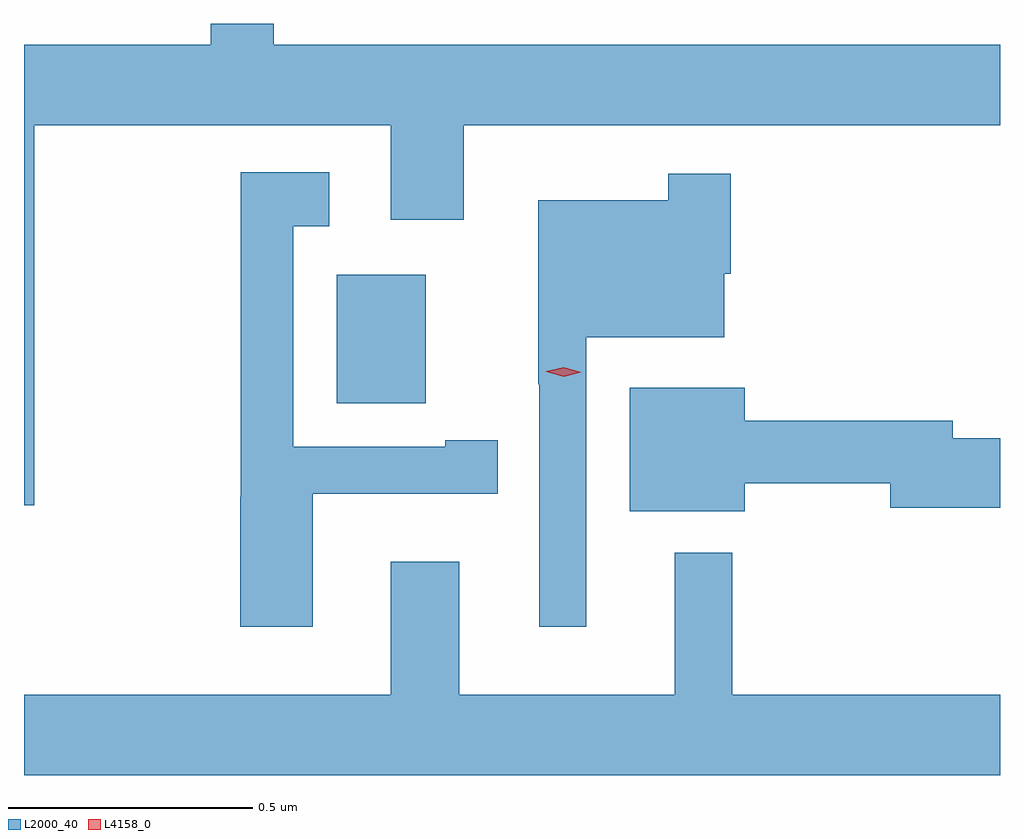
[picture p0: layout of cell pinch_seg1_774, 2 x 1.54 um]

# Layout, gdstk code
import gdstk
lib = gdstk.Library(unit=1e-6, precision=1e-09)
def R(c, l, rs):  # rectangles x0, y0, x1, y1
    for r in rs: c.add(gdstk.rectangle(r[:2], r[2:], *l))
def P(c, l, *ps):  # polygons
    for p in ps: c.add(gdstk.Polygon(p, *l))
L2000_40 = (2000, 40)
L4158_0 = (4158, 0)

pinch_seg1_774 = lib.new_cell('pinch_seg1_774')
R(pinch_seg1_774, L2000_40, [(855.518,521.858,855.7,522.121)])
P(pinch_seg1_774, L2000_40, [(854.898,522.428),(855.629,522.428),(855.629,522.234),(855.778,522.234),(855.778,522.428),(856.877,522.428),(856.877,522.592),(855.389,522.592),(855.389,522.635),(855.26,522.635),(855.26,522.592),(854.877,522.592),(854.877,521.649),(854.898,521.649)],
  [(855.469,521.672),(855.848,521.672),(855.848,521.782),(855.74,521.782),(855.74,521.769),(855.429,521.769),(855.429,522.221),(855.502,522.221),(855.502,522.331),(855.321,522.331),(855.321,521.666),(855.32,521.666),(855.32,521.4),(855.469,521.4)],
  [(856.029,521.993),(856.312,521.993),(856.312,522.123),(856.325,522.123),(856.325,522.328),(856.197,522.328),(856.197,522.274),(855.931,522.274),(855.931,521.897),(855.933,521.897),(855.933,521.4),(856.029,521.4)],
  [(856.354,521.694),(856.652,521.694),(856.652,521.644),(856.877,521.644),(856.877,521.786),(856.78,521.786),(856.78,521.822),(856.354,521.822),(856.354,521.89),(856.118,521.89),(856.118,521.636),(856.354,521.636)],
  [(856.877,521.26),(856.328,521.26),(856.328,521.551),(856.211,521.551),(856.211,521.26),(855.769,521.26),(855.769,521.533),(855.629,521.533),(855.629,521.26),(854.877,521.26),(854.877,521.096),(856.877,521.096)])
P(pinch_seg1_774, L4158_0, [(855.983,521.912),(855.947,521.922),(855.947,521.923),(855.947,521.923),(855.983,521.932),(856.019,521.921),(856.019,521.921),(856.019,521.921)])

lib.write_gds('pinch_seg1_774.gds')
